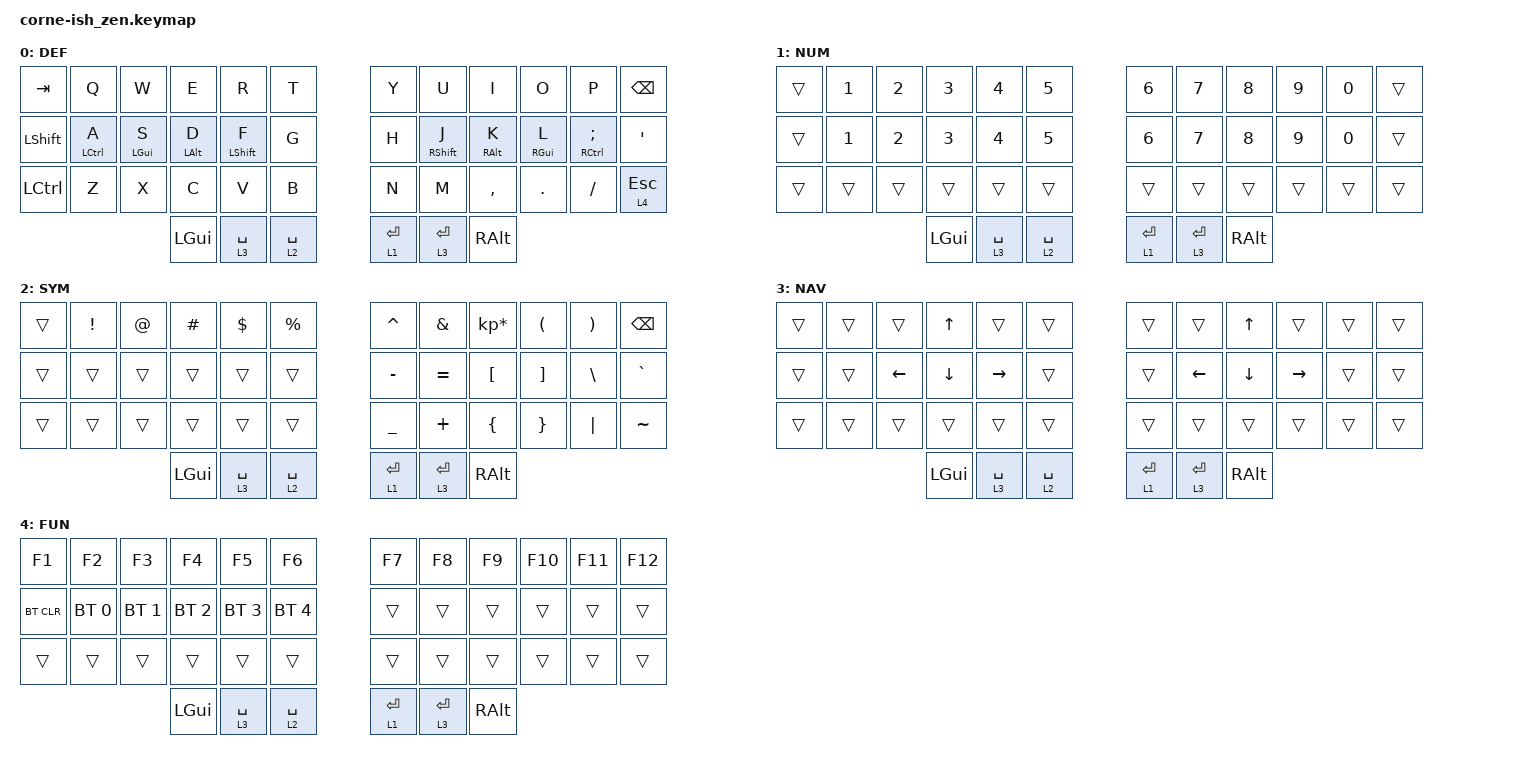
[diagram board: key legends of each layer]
/*
*
* Copyright (c) 2021 Darryl deHaan
* SPDX-License-Identifier: MIT
*
*/

#include <behaviors.dtsi>
#include <dt-bindings/zmk/keys.h>
#include <dt-bindings/zmk/bt.h>
#include <dt-bindings/zmk/outputs.h>

// Layer aliases
#define DEF 0
#define NUM 1
#define SYM 2
#define NAV 3
#define FUN 4

/ {

        combos {
            compatible = "zmk,combos";
            combo_n1 {
                timeout-ms = <25>;
                key-positions = <0 1>;
                bindings = <&kp N1>;
            };
            combo_n2 {
                timeout-ms = <25>;
                key-positions = <1 2>;
                bindings = <&kp N2>;
            };
            combo_n3 {
                timeout-ms = <25>;
                key-positions = <2 3>;
                bindings = <&kp N3>;
            };
            combo_n4 {
                timeout-ms = <25>;
                key-positions = <3 4>;
                bindings = <&kp N4>;
            };
            combo_n5 {
                timeout-ms = <25>;
                key-positions = <4 5>;
                bindings = <&kp N5>;
            };
            combo_n6 {
                timeout-ms = <25>;
                key-positions = <6 7>;
                bindings = <&kp N6>;
            }; 
            combo_n7 {
                timeout-ms = <25>;
                key-positions = <7 8>;
                bindings = <&kp N7>;
            }; 
            combo_n8 {
                timeout-ms = <25>;
                key-positions = <8 9>;
                bindings = <&kp N8>;
            }; 
            combo_n9 {
                timeout-ms = <25>;
                key-positions = <9 10>;
                bindings = <&kp N9>;
            }; 
            combo_n0 {
                timeout-ms = <25>;
                key-positions = <10 11>;
                bindings = <&kp N0>;
            };
            combo_lpar {
                timeout-ms = <25>;
                key-positions = <14 15>;
                bindings = <&kp LPAR>;
            };
            combo_lbkt {
                timeout-ms = <25>;
                key-positions = <15 16>;
                bindings = <&kp LBKT>;
            };
            combo_lbrc {
                timeout-ms = <25>;
                key-positions = <16 17>;
                bindings = <&kp LBRC>;
            };
            combo_rpar {
                timeout-ms = <25>;
                key-positions = <20 21>;
                bindings = <&kp RPAR>;
            };
            combo_rbkt {
                timeout-ms = <25>;
                key-positions = <19 20>;
                bindings = <&kp RBKT>;
            };
            combo_rbrc {
                timeout-ms = <25>;
                key-positions = <18 19>;
                bindings = <&kp RBRC>;
            };
            combo_minus {
                timeout-ms = <25>;
                key-positions = <30 31>;
                bindings = <&kp MINUS>;
            };
            combo_equal {
                timeout-ms = <25>;
                key-positions = <31 32>;
                bindings = <&kp EQUAL>;
            };
    };
        behaviors {
            am: alpha_mods {
            compatible = "zmk,behavior-hold-tap";
            label = "ALPHA_MT";
            #binding-cells = <2>;
            tapping-term-ms = <250>;
            quick-tap-ms = <150>;
            flavor = "tap-preferred";
            bindings = <&kp>, <&kp>;
        };
        as: alpha_shift {
            compatible = "zmk,behavior-hold-tap";
            label = "ALPHA_SFT";
            #binding-cells = <2>;
            tapping-term-ms = <200>;
            quick-tap-ms = <150>;
            flavor = "tap-preferred";
            bindings = <&kp>, <&kp>;
        };

        // Easy alt-tab with alt+backspace thumb using mod-morphs
        bstab: backspace_tab {
            compatible = "zmk,behavior-mod-morph";
            label = "BSPC_TAB";
            #binding-cells = <0>;
            bindings = <&kp BSPC>, <&kp TAB>;
            mods = <MOD_LALT>;
        };
        lt_bspc: layer_tap_backspace_tab {
            compatible = "zmk,behavior-hold-tap";
            label = "LT_BT";
            #binding-cells = <2>;
            tapping-term-ms = <150>;
            flavor = "balanced";
            bindings = <&mo>, <&bstab>;
        };
    };
        keymap {
                compatible = "zmk,keymap";

                default_layer {
                        label = "DEF";
                        bindings = <
   &kp TAB   &kp Q       &kp W         &kp E         &kp R         &kp T     &kp Y   &kp U       &kp I          &kp O        &kp P          &kp BSPC
   &kp LSHFT &am LCTRL A &am LGUI S    &am LALT D    &as LSHFT F   &kp G     &kp H   &as RSHFT J &am RALT K     &am RGUI L   &am RCTRL SEMI &kp SQT
   &kp LCTRL &kp Z       &kp X         &kp C         &kp V         &kp B     &kp N   &kp M       &kp COMMA      &kp DOT      &kp FSLH       &lt 4 ESC
                                       &kp LGUI      &lt 3 SPACE   &lt 2 SPACE   &lt 1 RET &lt 3 RET &kp RALT
                        >;
                };
                number_layer {
                        label = "NUM";
                        bindings = <
   &trans     &kp N1       &kp N2       &kp N3       &kp N4       &kp N5         &kp N6   &kp N7   &kp N8 &kp N9    &kp N0 &trans
   &trans     &kp N1       &kp N2       &kp N3       &kp N4       &kp N5         &kp N6   &kp N7   &kp N8 &kp N9    &kp N0 &trans
   &trans     &trans       &trans       &trans       &trans       &trans         &trans   &trans   &trans &trans    &trans &trans
                          	        &kp LGUI      &lt 3 SPACE   &lt 2 SPACE   &lt 1 RET &lt 3 RET &kp RALT
                        >;
                };

                symbol_layer {
                        label = "SYM";
                        bindings = <
   &trans  &kp EXCL &kp AT &kp HASH &kp DLLR &kp PRCNT   &kp CARET &kp AMPS  &kp KP_MULTIPLY &kp LPAR &kp RPAR &kp BSPC
   &trans  &trans   &trans &trans   &trans   &trans      &kp MINUS &kp EQUAL &kp LBKT        &kp RBKT &kp BSLH &kp GRAVE
   &trans  &trans   &trans &trans   &trans   &trans      &kp UNDER &kp PLUS  &kp LBRC        &kp RBRC &kp PIPE &kp TILDE
                    	      &kp LGUI      &lt 3 SPACE   &lt 2 SPACE   &lt 1 RET &lt 3 RET &kp RALT
                        >;
                };

                nav_layer {
                        label = "NAV";
                        bindings = <
   &trans &trans   &trans   &kp UP    &trans      &trans      &trans &trans    &kp UP      &trans &trans &trans
   &trans &trans   &kp LEFT &kp DOWN  &kp RIGHT   &trans      &trans &kp LEFT  &kp DOWN    &kp RIGHT &trans &trans
   &trans &trans   &trans   &trans    &trans      &trans      &trans &trans    &trans      &trans &trans &trans
                    	      &kp LGUI      &lt 3 SPACE   &lt 2 SPACE   &lt 1 RET &lt 3 RET &kp RALT
                        >;
                };
                
                func_layer {
                        label = "FUN";
                        bindings = <
   &kp F1 &kp F2   &kp F3   &kp F4    &kp F5      &kp F6      &kp F7 &kp F8    &kp F9      &kp F10 &kp F11 &kp F12
   &bt BT_CLR &bt BT_SEL 0 &bt BT_SEL 1 &bt BT_SEL 2 &bt BT_SEL 3 &bt BT_SEL 4     &trans &trans    &trans      &trans &trans &trans
   &trans &trans   &trans   &trans    &trans      &trans      &trans &trans    &trans      &trans &trans &trans
                    	 &kp LGUI      &lt 3 SPACE   &lt 2 SPACE   &lt 1 RET &lt 3 RET &kp RALT
                        >;
                };
        };
};
